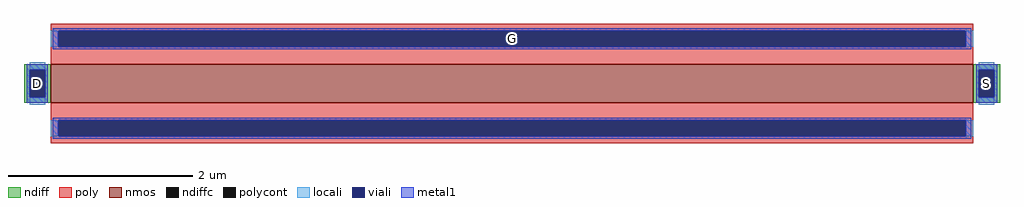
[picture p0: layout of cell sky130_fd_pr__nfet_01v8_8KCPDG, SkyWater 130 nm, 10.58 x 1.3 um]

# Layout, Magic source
magic
tech sky130A
magscale 1 2
<< nmos >>
rect -1000 -42 1000 42
<< ndiff >>
rect -1058 30 -1000 42
rect -1058 -30 -1046 30
rect -1012 -30 -1000 30
rect -1058 -42 -1000 -30
rect 1000 30 1058 42
rect 1000 -30 1012 30
rect 1046 -30 1058 30
rect 1000 -42 1058 -30
<< ndiffc >>
rect -1046 -30 -1012 30
rect 1012 -30 1046 30
<< poly >>
rect -1000 114 1000 130
rect -1000 80 -984 114
rect 984 80 1000 114
rect -1000 42 1000 80
rect -1000 -80 1000 -42
rect -1000 -114 -984 -80
rect 984 -114 1000 -80
rect -1000 -130 1000 -114
<< polycont >>
rect -984 80 984 114
rect -984 -114 984 -80
<< locali >>
rect -1000 80 -984 114
rect 984 80 1000 114
rect -1046 30 -1012 46
rect -1046 -46 -1012 -30
rect 1012 30 1046 46
rect 1012 -46 1046 -30
rect -1000 -114 -984 -80
rect 984 -114 1000 -80
<< viali >>
rect -984 80 984 114
rect -1046 -30 -1012 30
rect 1012 -30 1046 30
rect -984 -114 984 -80
<< metal1 >>
rect -996 114 996 120
rect -996 80 -984 114
rect 984 80 996 114
rect -996 74 996 80
rect -1052 30 -1006 42
rect -1052 -30 -1046 30
rect -1012 -30 -1006 30
rect -1052 -42 -1006 -30
rect 1006 30 1052 42
rect 1006 -30 1012 30
rect 1046 -30 1052 30
rect 1006 -42 1052 -30
rect -996 -80 996 -74
rect -996 -114 -984 -80
rect 984 -114 996 -80
rect -996 -120 996 -114
<< labels >>
rlabel ndiffc -1029 0 -1029 0 0 D
port 1 nsew
rlabel ndiffc 1029 0 1029 0 0 S
port 2 nsew
rlabel polycont 0 97 0 97 0 G
port 3 nsew
<< properties >>
string gencell sky130_fd_pr__nfet_01v8
string library sky130
string parameters w 0.42 l 10 m 1 nf 1 diffcov 100 polycov 100 guard 0 glc 1 grc 1 gtc 1 gbc 1 tbcov 100 rlcov 100 topc 1 botc 1 poverlap 0 doverlap 1 lmin 0.15 wmin 0.42 class mosfet compatible {sky130_fd_pr__nfet_01v8 sky130_fd_pr__nfet_01v8_lvt  sky130_fd_bs_flash__special_sonosfet_star  sky130_fd_pr__nfet_g5v0d10v5 sky130_fd_pr__nfet_05v0_nvt  sky130_fd_pr__nfet_03v3_nvt} full_metal 1 conn_gates 0 viasrc 100 viadrn 100 viagate 100 viagb 0 viagr 0 viagl 0 viagt 0 doports 1
<< end >>
